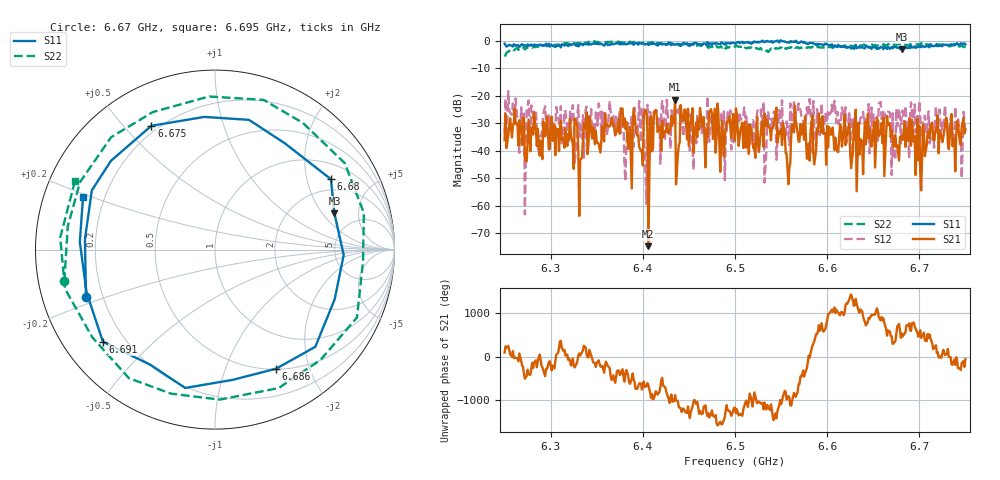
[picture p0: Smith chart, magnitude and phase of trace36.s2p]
# Hz S RI R 50
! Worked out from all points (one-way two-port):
!   401 points, 6.25 GHz to 6.75 GHz, reference 50 ohm
!   highest |S21| = -21.41 dB at 6.435 GHz (marker M1); lowest = -74.8 dB at 6.406 GHz (marker M2)
!   lowest |S11| = -3.2 dB at 6.681 GHz (marker M3), VSWR 5.57, Z = 168 + j132 ohm
!   |S11| at or under -10 dB: nowhere
!   |S22| runs from -5.8 to -0.2 dB; largest |S21 - S12| = 0.14
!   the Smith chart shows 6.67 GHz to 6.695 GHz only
!   S11 on the Smith chart (normalised r, x): 6.67 GHz: 0.14, -0.17; 6.675 GHz: 0.17, +0.60; 6.68 GHz: 1.54, +2.81; 6.686 GHz: 0.51, -1.52; 6.691 GHz: 0.12, -0.35; 6.695 GHz: 0.12, +0.19
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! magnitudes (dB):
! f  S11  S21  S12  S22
! 6.25 GHz  -1.1  -36.2  -33.6  -5.8
! 6.334 GHz  -1.2  -42.5  -35.6  -0.6
! 6.336 GHz  -1.2  -30.0  -42.6  -1.0
! 6.366 GHz  -1.2  -28.0  -26.5  -0.4
! 6.379 GHz  -1.1  -31.1  -30.5  -0.7
! 6.406 GHz  -1.5  -74.8  -36.0  -0.7
! 6.418 GHz  -1.1  -31.5  -27.4  -1.2
! 6.435 GHz  -1.5  -21.4  -29.6  -1.5
! 6.5 GHz  -1.1  -36.4  -28.3  -2.3
! 6.542 GHz  -0.4  -30.8  -25.8  -3.3
! 6.558 GHz  -0.6  -52.2  -34.0  -2.5
! 6.564 GHz  -0.5  -33.4  -22.4  -2.3
! 6.584 GHz  -0.8  -27.2  -40.6  -2.2
! 6.668 GHz  -3.0  -30.2  -26.1  -1.1
! 6.67 GHz  -2.3  -32.6  -48.9  -1.3
! 6.675 GHz  -2.2  -38.7  -24.8  -1.5
! 6.68 GHz  -2.4  -34.8  -37.4  -1.2
! 6.681 GHz  -3.2  -35.8  -25.8  -1.4
! 6.686 GHz  -2.5  -31.8  -29.4  -1.4
! 6.691 GHz  -1.8  -38.2  -22.4  -1.5
! 6.695 GHz  -2.0  -34.7  -23.2  -1.2
! 6.75 GHz  -1.3  -32.1  -33.6  -2.5
